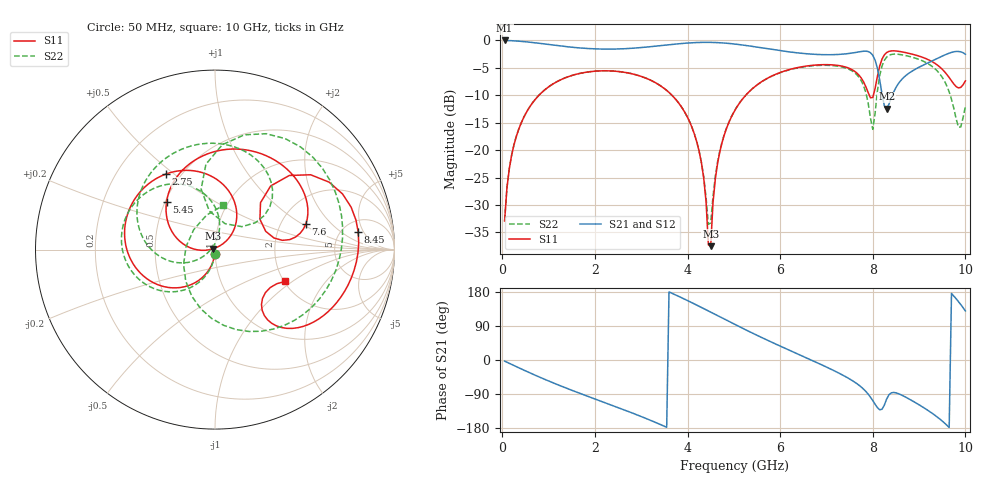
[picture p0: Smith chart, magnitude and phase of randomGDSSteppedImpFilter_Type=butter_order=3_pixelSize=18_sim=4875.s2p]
! freq	dB(S11)	phase(S11)	dB(S12)	phase(S12)
!  dB(S21)	phase(S21)	dB(S22)	phase(S22)
!S-par simulation data
#  GHz  S  DB  R 50
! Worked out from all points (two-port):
!   200 points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, 50 MHz to 10 GHz, reference 50 ohm
!   highest |S21| = -0.01 dB at 50 MHz (marker M1); lowest = -12.4 dB at 8.3 GHz (marker M2)
!   |S21| within 3 dB of the highest: start of sweep to 8.017 GHz; 9.462 GHz to end of sweep
!   lowest |S11| = -37.5 dB at 4.5 GHz (marker M3), VSWR 1.03, Z = 48.8 + j0.48 ohm
!   |S11| at or under -10 dB: start of sweep to 791.2 MHz; 3.664 GHz to 5.257 GHz (1.593 GHz wide, 35.7 % of centre); 7.926 GHz to 8.012 GHz (85.94 MHz wide, 1.08 % of centre)
!   |S22| runs from -33.5 to -2.5 dB; largest |S21 - S12| = 0
!   S11 on the Smith chart (normalised r, x): 50 MHz: 1.00, -0.05; 2.75 GHz: 0.42, +0.47; 5.45 GHz: 0.51, +0.31; 7.6 GHz: 2.74, +1.09; 8.45 GHz: 7.03, +3.87; 10 GHz: 2.02, -0.88
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0.05  -32.90 -93.2  -0.01 -3.0  -0.01 -3.0  -32.90 -92.9
0.2  -20.97 -102.7  -0.05 -11.6  -0.05 -11.6  -20.97 -101.3
0.5  -13.42 -120.8  -0.24 -28.6  -0.24 -28.6  -13.42 -117.5
1.75  -5.89 172.2  -1.42 -91.4  -1.42 -91.4  -5.88 -176.1
2.75  -5.99 122.9  -1.46 -137.2  -1.46 -137.2  -5.98 142.3
3.4  -8.18 88.3  -0.97 -169.5  -0.97 -169.5  -8.17 113.5
4.15  -17.11 44.6  -0.40 147.8  -0.40 147.8  -17.10 79.3
4.5  -37.49 158.4  -0.36 126.3  -0.36 126.3  -33.25 173.3
4.65  -22.35 -177.1  -0.40 116.9  -0.40 116.9  -22.05 -149.7
5.05  -12.35 160.4  -0.69 92.1  -0.69 92.1  -12.31 -163.5
5.45  -8.44 135.6  -1.15 68.1  -1.15 68.1  -8.45 176.0
6.7  -4.54 64.1  -2.51 -1.7  -2.51 -1.7  -4.63 111.0
7.6  -5.58 15.8  -2.24 -57.7  -2.24 -57.7  -5.83 54.4
8  -10.40 34.1  -2.70 -107.1  -2.70 -107.1  -16.20 68.5
8.15  -4.66 44.9  -7.21 -131.4  -7.21 -131.4  -6.40 96.1
8.3  -2.21 23.6  -12.45 -103.0  -12.45 -103.0  -3.03 66.2
8.35  -2.00 17.3  -11.62 -91.7  -11.62 -91.7  -2.72 57.7
8.45  -1.90 7.0  -9.43 -85.7  -9.43 -85.7  -2.50 43.3
8.9  -2.61 -23.3  -5.34 -110.9  -5.34 -110.9  -3.18 -4.9
9.4  -4.52 -47.6  -3.25 -151.2  -3.25 -151.2  -5.63 -60.5
9.75  -7.94 -49.8  -2.07 168.9  -2.07 168.9  -12.38 -132.6
10  -7.37 -24.5  -2.52 129.6  -2.52 129.6  -12.03 79.4
